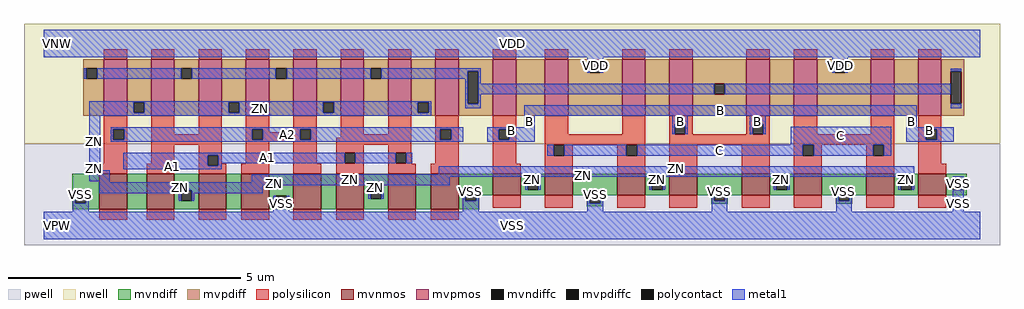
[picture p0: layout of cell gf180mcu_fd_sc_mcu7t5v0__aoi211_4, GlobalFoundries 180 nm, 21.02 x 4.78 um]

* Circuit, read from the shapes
.subckt gf180mcu_fd_sc_mcu7t5v0__aoi211_4 A1 A2 B C ZN VDD VNW VPW VSS
XM1 n1 A2 VSS VPW nfet_06v0 w=0.77u l=0.6u
XM2 ZN A1 n1 VPW nfet_06v0 w=0.77u l=0.6u
XM3 n2 A1 ZN VPW nfet_06v0 w=0.77u l=0.6u
XM4 VSS A2 n2 VPW nfet_06v0 w=0.77u l=0.6u
XM5 n3 A2 VSS VPW nfet_06v0 w=0.77u l=0.6u
XM6 ZN A1 n3 VPW nfet_06v0 w=0.77u l=0.6u
XM7 n4 A1 ZN VPW nfet_06v0 w=0.77u l=0.6u
XM8 VSS A2 n4 VPW nfet_06v0 w=0.77u l=0.6u
XM9 ZN B VSS VPW nfet_06v0 w=0.46u l=0.6u m=4
XM10 VSS C ZN VPW nfet_06v0 w=0.46u l=0.6u m=4
XM11 ZN A2 n5 VNW pfet_06v0 w=1.22u l=0.5u m=4
XM12 n5 A1 ZN VNW pfet_06v0 w=1.22u l=0.5u m=4
XM13 n6 B n5 VNW pfet_06v0 w=1.22u l=0.5u
XM14 VDD C n6 VNW pfet_06v0 w=1.22u l=0.5u
XM15 n7 C VDD VNW pfet_06v0 w=1.22u l=0.5u
XM16 n5 B n7 VNW pfet_06v0 w=1.22u l=0.5u
XM17 n8 B n5 VNW pfet_06v0 w=1.22u l=0.5u
XM18 VDD C n8 VNW pfet_06v0 w=1.22u l=0.5u
XM19 n9 C VDD VNW pfet_06v0 w=1.22u l=0.5u
XM20 n5 B n9 VNW pfet_06v0 w=1.22u l=0.5u
.ends

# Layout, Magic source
magic
tech gf180mcuD
magscale 1 10
<< nwell >>
rect -86 352 4118 870
<< pwell >>
rect -86 -86 4118 352
<< mvnmos >>
rect 238 69 358 223
rect 442 69 562 223
rect 666 69 786 223
rect 850 69 970 223
rect 1074 69 1194 223
rect 1258 69 1378 223
rect 1482 69 1602 223
rect 1666 69 1786 223
rect 1934 131 2054 223
rect 2158 131 2278 223
rect 2470 131 2590 223
rect 2694 131 2814 223
rect 3006 131 3126 223
rect 3230 131 3350 223
rect 3542 131 3662 223
rect 3766 131 3886 223
<< mvpmos >>
rect 258 472 358 716
rect 462 472 562 716
rect 666 472 766 716
rect 870 472 970 716
rect 1074 472 1174 716
rect 1278 472 1378 716
rect 1482 472 1582 716
rect 1686 472 1786 716
rect 1934 472 2034 716
rect 2158 472 2258 716
rect 2490 472 2590 716
rect 2694 472 2794 716
rect 3026 472 3126 716
rect 3230 472 3330 716
rect 3562 472 3662 716
rect 3766 472 3866 716
<< mvndiff >>
rect 122 142 238 223
rect 122 96 135 142
rect 181 96 238 142
rect 122 69 238 96
rect 358 69 442 223
rect 562 152 666 223
rect 562 106 591 152
rect 637 106 666 152
rect 562 69 666 106
rect 786 69 850 223
rect 970 128 1074 223
rect 970 82 999 128
rect 1045 82 1074 128
rect 970 69 1074 82
rect 1194 69 1258 223
rect 1378 161 1482 223
rect 1378 115 1407 161
rect 1453 115 1482 161
rect 1378 69 1482 115
rect 1602 69 1666 223
rect 1786 153 1934 223
rect 1786 107 1815 153
rect 1861 131 1934 153
rect 2054 201 2158 223
rect 2054 155 2083 201
rect 2129 155 2158 201
rect 2054 131 2158 155
rect 2278 142 2470 223
rect 2278 131 2351 142
rect 1861 107 1874 131
rect 1786 69 1874 107
rect 2338 96 2351 131
rect 2397 131 2470 142
rect 2590 201 2694 223
rect 2590 155 2619 201
rect 2665 155 2694 201
rect 2590 131 2694 155
rect 2814 153 3006 223
rect 2814 131 2887 153
rect 2397 96 2410 131
rect 2338 83 2410 96
rect 2874 107 2887 131
rect 2933 131 3006 153
rect 3126 201 3230 223
rect 3126 155 3155 201
rect 3201 155 3230 201
rect 3126 131 3230 155
rect 3350 153 3542 223
rect 3350 131 3423 153
rect 2933 107 2946 131
rect 2874 94 2946 107
rect 3410 107 3423 131
rect 3469 131 3542 153
rect 3662 201 3766 223
rect 3662 155 3691 201
rect 3737 155 3766 201
rect 3662 131 3766 155
rect 3886 201 3974 223
rect 3886 155 3915 201
rect 3961 155 3974 201
rect 3886 131 3974 155
rect 3469 107 3482 131
rect 3410 94 3482 107
<< mvpdiff >>
rect 170 678 258 716
rect 170 632 183 678
rect 229 632 258 678
rect 170 472 258 632
rect 358 531 462 716
rect 358 485 387 531
rect 433 485 462 531
rect 358 472 462 485
rect 562 678 666 716
rect 562 632 591 678
rect 637 632 666 678
rect 562 472 666 632
rect 766 531 870 716
rect 766 485 795 531
rect 841 485 870 531
rect 766 472 870 485
rect 970 678 1074 716
rect 970 632 999 678
rect 1045 632 1074 678
rect 970 472 1074 632
rect 1174 531 1278 716
rect 1174 485 1203 531
rect 1249 485 1278 531
rect 1174 472 1278 485
rect 1378 678 1482 716
rect 1378 632 1407 678
rect 1453 632 1482 678
rect 1378 472 1482 632
rect 1582 531 1686 716
rect 1582 485 1611 531
rect 1657 485 1686 531
rect 1582 472 1686 485
rect 1786 665 1934 716
rect 1786 525 1825 665
rect 1871 525 1934 665
rect 1786 472 1934 525
rect 2034 472 2158 716
rect 2258 703 2490 716
rect 2258 657 2351 703
rect 2397 657 2490 703
rect 2258 472 2490 657
rect 2590 472 2694 716
rect 2794 611 3026 716
rect 2794 565 2887 611
rect 2933 565 3026 611
rect 2794 472 3026 565
rect 3126 472 3230 716
rect 3330 703 3562 716
rect 3330 657 3406 703
rect 3452 657 3562 703
rect 3330 472 3562 657
rect 3662 472 3766 716
rect 3866 665 3964 716
rect 3866 525 3905 665
rect 3951 525 3964 665
rect 3866 472 3964 525
<< mvndiffc >>
rect 135 96 181 142
rect 591 106 637 152
rect 999 82 1045 128
rect 1407 115 1453 161
rect 1815 107 1861 153
rect 2083 155 2129 201
rect 2351 96 2397 142
rect 2619 155 2665 201
rect 2887 107 2933 153
rect 3155 155 3201 201
rect 3423 107 3469 153
rect 3691 155 3737 201
rect 3915 155 3961 201
<< mvpdiffc >>
rect 183 632 229 678
rect 387 485 433 531
rect 591 632 637 678
rect 795 485 841 531
rect 999 632 1045 678
rect 1203 485 1249 531
rect 1407 632 1453 678
rect 1611 485 1657 531
rect 1825 525 1871 665
rect 2351 657 2397 703
rect 2887 565 2933 611
rect 3406 657 3452 703
rect 3905 525 3951 665
<< polysilicon >>
rect 258 716 358 760
rect 462 716 562 760
rect 666 716 766 760
rect 870 716 970 760
rect 1074 716 1174 760
rect 1278 716 1378 760
rect 1482 716 1582 760
rect 1686 716 1786 760
rect 1934 716 2034 760
rect 2158 716 2258 760
rect 2490 716 2590 760
rect 2694 716 2794 760
rect 3026 716 3126 760
rect 3230 716 3330 760
rect 3562 716 3662 760
rect 3766 716 3866 760
rect 258 415 358 472
rect 258 369 299 415
rect 345 369 358 415
rect 258 267 358 369
rect 462 394 562 472
rect 666 394 766 472
rect 462 348 766 394
rect 462 267 562 348
rect 238 223 358 267
rect 442 223 562 267
rect 666 303 766 348
rect 666 257 705 303
rect 751 267 766 303
rect 870 415 970 472
rect 870 369 897 415
rect 943 401 970 415
rect 1074 415 1174 472
rect 1074 401 1103 415
rect 943 369 1103 401
rect 1149 369 1174 415
rect 1278 394 1378 472
rect 1482 394 1582 472
rect 1278 378 1582 394
rect 870 361 1174 369
rect 870 267 970 361
rect 751 257 786 267
rect 666 223 786 257
rect 850 223 970 267
rect 1074 267 1174 361
rect 1258 348 1582 378
rect 1258 314 1378 348
rect 1258 268 1295 314
rect 1341 268 1378 314
rect 1074 223 1194 267
rect 1258 223 1378 268
rect 1482 314 1582 348
rect 1482 268 1515 314
rect 1561 268 1582 314
rect 1482 267 1582 268
rect 1686 415 1786 472
rect 1686 369 1708 415
rect 1754 369 1786 415
rect 1686 267 1786 369
rect 1482 223 1602 267
rect 1666 223 1786 267
rect 1934 415 2034 472
rect 1934 369 1959 415
rect 2005 369 2034 415
rect 1934 267 2034 369
rect 2158 394 2258 472
rect 2490 394 2590 472
rect 2158 348 2590 394
rect 2158 347 2278 348
rect 2158 301 2196 347
rect 2242 301 2278 347
rect 1934 223 2054 267
rect 2158 223 2278 301
rect 2470 347 2590 348
rect 2470 301 2509 347
rect 2555 301 2590 347
rect 2470 223 2590 301
rect 2694 439 2794 472
rect 2694 393 2717 439
rect 2763 394 2794 439
rect 3026 439 3126 472
rect 3026 394 3052 439
rect 2763 393 3052 394
rect 3098 393 3126 439
rect 2694 348 3126 393
rect 2694 223 2814 348
rect 3006 223 3126 348
rect 3230 394 3330 472
rect 3562 394 3662 472
rect 3230 348 3662 394
rect 3230 347 3350 348
rect 3230 301 3269 347
rect 3315 301 3350 347
rect 3230 223 3350 301
rect 3542 347 3662 348
rect 3542 301 3572 347
rect 3618 301 3662 347
rect 3542 223 3662 301
rect 3766 415 3866 472
rect 3766 369 3799 415
rect 3845 369 3866 415
rect 3766 267 3866 369
rect 3766 223 3886 267
rect 1934 77 2054 131
rect 2158 77 2278 131
rect 2470 77 2590 131
rect 2694 77 2814 131
rect 3006 77 3126 131
rect 3230 77 3350 131
rect 3542 77 3662 131
rect 3766 77 3886 131
rect 238 24 358 69
rect 442 24 562 69
rect 666 24 786 69
rect 850 24 970 69
rect 1074 24 1194 69
rect 1258 24 1378 69
rect 1482 24 1602 69
rect 1666 24 1786 69
<< polycontact >>
rect 299 369 345 415
rect 705 257 751 303
rect 897 369 943 415
rect 1103 369 1149 415
rect 1295 268 1341 314
rect 1515 268 1561 314
rect 1708 369 1754 415
rect 1959 369 2005 415
rect 2196 301 2242 347
rect 2509 301 2555 347
rect 2717 393 2763 439
rect 3052 393 3098 439
rect 3269 301 3315 347
rect 3572 301 3618 347
rect 3799 369 3845 415
<< metal1 >>
rect 0 724 4032 844
rect 2340 703 2408 724
rect 172 632 183 678
rect 229 632 591 678
rect 637 632 999 678
rect 1045 632 1407 678
rect 1453 665 1882 678
rect 1453 632 1825 665
rect 196 531 1668 536
rect 196 485 387 531
rect 433 485 795 531
rect 841 485 1203 531
rect 1249 485 1611 531
rect 1657 485 1668 531
rect 1814 525 1825 632
rect 1871 611 1882 665
rect 2340 657 2351 703
rect 2397 657 2408 703
rect 3395 703 3463 724
rect 3395 657 3406 703
rect 3452 657 3463 703
rect 3905 665 3951 676
rect 1871 565 2887 611
rect 2933 565 3905 611
rect 1871 525 1882 565
rect 1814 506 1882 525
rect 196 472 1668 485
rect 2068 472 3760 519
rect 3905 506 3951 525
rect 196 237 242 472
rect 2068 424 2114 472
rect 288 415 1807 424
rect 288 369 299 415
rect 345 369 897 415
rect 943 369 1103 415
rect 1149 369 1708 415
rect 1754 369 1807 415
rect 288 360 1807 369
rect 1910 415 2114 424
rect 1910 369 1959 415
rect 2005 369 2114 415
rect 2706 439 2774 472
rect 2706 393 2717 439
rect 2763 393 2774 439
rect 3041 439 3109 472
rect 3041 393 3052 439
rect 3098 393 3109 439
rect 1910 360 2114 369
rect 3216 347 3650 426
rect 3714 424 3760 472
rect 3714 415 3918 424
rect 3714 369 3799 415
rect 3845 369 3918 415
rect 3714 360 3918 369
rect 342 303 1295 314
rect 342 257 705 303
rect 751 268 1295 303
rect 1341 268 1515 314
rect 1561 268 1587 314
rect 2168 301 2196 347
rect 2242 301 2509 347
rect 2555 301 3269 347
rect 3315 301 3572 347
rect 3618 301 3650 347
rect 751 257 766 268
rect 342 242 766 257
rect 196 191 284 237
rect 1701 220 3748 255
rect 238 186 284 191
rect 896 209 3748 220
rect 896 186 1747 209
rect 238 174 1747 186
rect 2072 201 2140 209
rect 238 152 942 174
rect 124 96 135 142
rect 181 96 192 142
rect 238 140 591 152
rect 580 106 591 140
rect 637 140 942 152
rect 1396 161 1464 174
rect 637 106 648 140
rect 124 60 192 96
rect 988 82 999 128
rect 1045 82 1056 128
rect 1396 115 1407 161
rect 1453 115 1464 161
rect 2072 155 2083 201
rect 2129 155 2140 201
rect 2608 201 2676 209
rect 2608 155 2619 201
rect 2665 155 2676 201
rect 3144 201 3212 209
rect 3144 155 3155 201
rect 3201 155 3212 201
rect 3680 201 3748 209
rect 3680 155 3691 201
rect 3737 155 3748 201
rect 3915 201 3961 212
rect 988 60 1056 82
rect 1804 107 1815 153
rect 1861 107 1872 153
rect 1804 60 1872 107
rect 2340 96 2351 142
rect 2397 96 2408 142
rect 2340 60 2408 96
rect 2876 107 2887 153
rect 2933 107 2944 153
rect 2876 60 2944 107
rect 3412 107 3423 153
rect 3469 107 3480 153
rect 3412 60 3480 107
rect 3915 60 3961 155
rect 0 -60 4032 60
<< labels >>
flabel metal1 s 288 360 1807 424 0 FreeSans 600 0 0 0 A2
port 2 nsew default input
flabel metal1 s 2068 472 3760 519 0 FreeSans 600 0 0 0 B
port 3 nsew default input
flabel metal1 s 3216 347 3650 426 0 FreeSans 600 0 0 0 C
port 4 nsew default input
flabel metal1 s 0 724 4032 844 0 FreeSans 600 0 0 0 VDD
port 6 nsew power bidirectional abutment
flabel metal1 s 3915 153 3961 212 0 FreeSans 600 0 0 0 VSS
port 9 nsew ground bidirectional abutment
flabel metal1 s 196 472 1668 536 0 FreeSans 600 0 0 0 ZN
port 5 nsew default output
flabel metal1 s 342 268 1587 314 0 FreeSans 600 0 0 0 A1
port 1 nsew default input
flabel nwell s 10 734 110 834 0 FreeSans 400 0 0 0 VNW
port 7 nsew power bidirectional
flabel pwell s 10 -50 110 50 0 FreeSans 400 0 0 0 VPW
port 8 nsew ground bidirectional
rlabel metal1 s 342 242 766 268 1 A1
port 1 nsew default input
rlabel metal1 s 3714 424 3760 472 1 B
port 3 nsew default input
rlabel metal1 s 3041 424 3109 472 1 B
port 3 nsew default input
rlabel metal1 s 2706 424 2774 472 1 B
port 3 nsew default input
rlabel metal1 s 2068 424 2114 472 1 B
port 3 nsew default input
rlabel metal1 s 3714 393 3918 424 1 B
port 3 nsew default input
rlabel metal1 s 3041 393 3109 424 1 B
port 3 nsew default input
rlabel metal1 s 2706 393 2774 424 1 B
port 3 nsew default input
rlabel metal1 s 1910 393 2114 424 1 B
port 3 nsew default input
rlabel metal1 s 3714 360 3918 393 1 B
port 3 nsew default input
rlabel metal1 s 1910 360 2114 393 1 B
port 3 nsew default input
rlabel metal1 s 2168 301 3650 347 1 C
port 4 nsew default input
rlabel metal1 s 196 255 242 472 1 ZN
port 5 nsew default output
rlabel metal1 s 1701 237 3748 255 1 ZN
port 5 nsew default output
rlabel metal1 s 196 237 242 255 1 ZN
port 5 nsew default output
rlabel metal1 s 1701 220 3748 237 1 ZN
port 5 nsew default output
rlabel metal1 s 196 220 284 237 1 ZN
port 5 nsew default output
rlabel metal1 s 896 209 3748 220 1 ZN
port 5 nsew default output
rlabel metal1 s 196 209 284 220 1 ZN
port 5 nsew default output
rlabel metal1 s 3680 191 3748 209 1 ZN
port 5 nsew default output
rlabel metal1 s 3144 191 3212 209 1 ZN
port 5 nsew default output
rlabel metal1 s 2608 191 2676 209 1 ZN
port 5 nsew default output
rlabel metal1 s 2072 191 2140 209 1 ZN
port 5 nsew default output
rlabel metal1 s 896 191 1747 209 1 ZN
port 5 nsew default output
rlabel metal1 s 196 191 284 209 1 ZN
port 5 nsew default output
rlabel metal1 s 3680 186 3748 191 1 ZN
port 5 nsew default output
rlabel metal1 s 3144 186 3212 191 1 ZN
port 5 nsew default output
rlabel metal1 s 2608 186 2676 191 1 ZN
port 5 nsew default output
rlabel metal1 s 2072 186 2140 191 1 ZN
port 5 nsew default output
rlabel metal1 s 896 186 1747 191 1 ZN
port 5 nsew default output
rlabel metal1 s 238 186 284 191 1 ZN
port 5 nsew default output
rlabel metal1 s 3680 174 3748 186 1 ZN
port 5 nsew default output
rlabel metal1 s 3144 174 3212 186 1 ZN
port 5 nsew default output
rlabel metal1 s 2608 174 2676 186 1 ZN
port 5 nsew default output
rlabel metal1 s 2072 174 2140 186 1 ZN
port 5 nsew default output
rlabel metal1 s 238 174 1747 186 1 ZN
port 5 nsew default output
rlabel metal1 s 3680 155 3748 174 1 ZN
port 5 nsew default output
rlabel metal1 s 3144 155 3212 174 1 ZN
port 5 nsew default output
rlabel metal1 s 2608 155 2676 174 1 ZN
port 5 nsew default output
rlabel metal1 s 2072 155 2140 174 1 ZN
port 5 nsew default output
rlabel metal1 s 1396 155 1464 174 1 ZN
port 5 nsew default output
rlabel metal1 s 238 155 942 174 1 ZN
port 5 nsew default output
rlabel metal1 s 1396 140 1464 155 1 ZN
port 5 nsew default output
rlabel metal1 s 238 140 942 155 1 ZN
port 5 nsew default output
rlabel metal1 s 1396 115 1464 140 1 ZN
port 5 nsew default output
rlabel metal1 s 580 115 648 140 1 ZN
port 5 nsew default output
rlabel metal1 s 580 106 648 115 1 ZN
port 5 nsew default output
rlabel metal1 s 3395 657 3463 724 1 VDD
port 6 nsew power bidirectional abutment
rlabel metal1 s 2340 657 2408 724 1 VDD
port 6 nsew power bidirectional abutment
rlabel metal1 s 3915 142 3961 153 1 VSS
port 9 nsew ground bidirectional abutment
rlabel metal1 s 3412 142 3480 153 1 VSS
port 9 nsew ground bidirectional abutment
rlabel metal1 s 2876 142 2944 153 1 VSS
port 9 nsew ground bidirectional abutment
rlabel metal1 s 1804 142 1872 153 1 VSS
port 9 nsew ground bidirectional abutment
rlabel metal1 s 3915 128 3961 142 1 VSS
port 9 nsew ground bidirectional abutment
rlabel metal1 s 3412 128 3480 142 1 VSS
port 9 nsew ground bidirectional abutment
rlabel metal1 s 2876 128 2944 142 1 VSS
port 9 nsew ground bidirectional abutment
rlabel metal1 s 2340 128 2408 142 1 VSS
port 9 nsew ground bidirectional abutment
rlabel metal1 s 1804 128 1872 142 1 VSS
port 9 nsew ground bidirectional abutment
rlabel metal1 s 124 128 192 142 1 VSS
port 9 nsew ground bidirectional abutment
rlabel metal1 s 3915 60 3961 128 1 VSS
port 9 nsew ground bidirectional abutment
rlabel metal1 s 3412 60 3480 128 1 VSS
port 9 nsew ground bidirectional abutment
rlabel metal1 s 2876 60 2944 128 1 VSS
port 9 nsew ground bidirectional abutment
rlabel metal1 s 2340 60 2408 128 1 VSS
port 9 nsew ground bidirectional abutment
rlabel metal1 s 1804 60 1872 128 1 VSS
port 9 nsew ground bidirectional abutment
rlabel metal1 s 988 60 1056 128 1 VSS
port 9 nsew ground bidirectional abutment
rlabel metal1 s 124 60 192 128 1 VSS
port 9 nsew ground bidirectional abutment
rlabel metal1 s 0 -60 4032 60 1 VSS
port 9 nsew ground bidirectional abutment
<< properties >>
string FIXED_BBOX 0 0 4032 784
string GDS_END 1291660
string GDS_FILE $PDKPATH/libs.ref/gf180mcu_fd_sc_mcu7t5v0/gds/gf180mcu_fd_sc_mcu7t5v0.gds
string GDS_START 1284798
string LEFclass core
string LEFsite GF018hv5v_mcu_sc7
string LEFsymmetry X Y
<< end >>
